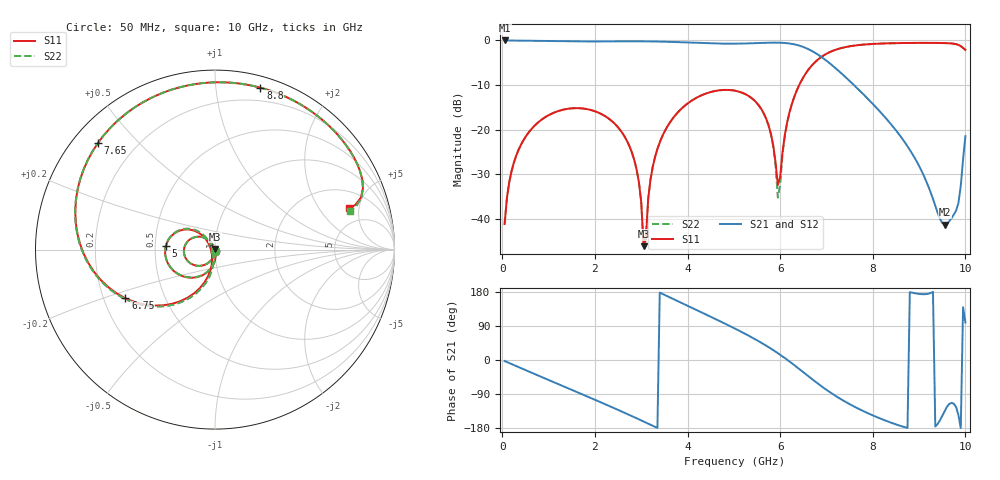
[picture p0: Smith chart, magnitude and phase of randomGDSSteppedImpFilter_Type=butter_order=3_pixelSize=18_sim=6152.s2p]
! freq	dB(S11)	phase(S11)	dB(S12)	phase(S12)
!  dB(S21)	phase(S21)	dB(S22)	phase(S22)
!S-par simulation data
#  GHz  S  DB  R 50
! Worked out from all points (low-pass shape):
!   200 points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, 50 MHz to 10 GHz, reference 50 ohm
!   highest |S21| = -0.01 dB at 50 MHz (marker M1); lowest = -41.4 dB at 9.55 GHz (marker M2)
!   |S21| within 3 dB of the highest: start of sweep to 6.79 GHz
!   lowest |S11| = -46.2 dB at 3.05 GHz (marker M3), VSWR 1.01, Z = 49.7 + j0.417 ohm
!   |S11| at or under -10 dB: start of sweep to 6.412 GHz
!   |S22| runs from -45.5 to -0.6 dB; largest |S21 - S12| = 0
!   S11 on the Smith chart (normalised r, x): 50 MHz: 1.00, -0.02; 5 GHz: 0.57, +0.03; 6.75 GHz: 0.29, -0.23; 7.65 GHz: 0.07, +0.38; 8.8 GHz: 0.09, +1.32; 10 GHz: 3.34, +3.97
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0.05  -41.22 -91.1  -0.01 -2.7  -0.01 -2.7  -41.22 -91.1
0.2  -29.34 -100.8  -0.02 -10.7  -0.02 -10.7  -29.34 -100.7
0.5  -21.68 -116.8  -0.06 -26.6  -0.06 -26.6  -21.68 -116.8
1.75  -15.29 177.5  -0.24 -91.7  -0.24 -91.7  -15.29 177.6
2.75  -23.85 124.2  -0.20 -145.4  -0.20 -145.4  -23.85 125.1
2.95  -31.85 113.6  -0.20 -156.6  -0.20 -156.6  -31.82 116.4
3.05  -46.19 121.3  -0.20 -162.2  -0.20 -162.2  -45.47 132.9
3.2  -31.23 -82.1  -0.22 -170.7  -0.22 -170.7  -31.23 -85.3
3.4  -22.89 -93.0  -0.26 177.8  -0.26 177.8  -22.89 -94.4
5  -11.24 175.4  -0.73 84.4  -0.73 84.4  -11.25 174.5
5.05  -11.34 172.4  -0.72 81.3  -0.72 81.3  -11.35 171.5
5.7  -17.62 134.2  -0.53 37.7  -0.53 37.7  -17.67 131.4
5.95  -32.47 171.0  -0.50 18.0  -0.50 18.0  -35.28 160.2
6.2  -16.20 -104.7  -0.69 -3.8  -0.69 -3.8  -16.26 -101.5
6.7  -5.45 -146.8  -2.45 -51.5  -2.45 -51.5  -5.46 -145.9
6.75  -4.92 -151.5  -2.75 -56.2  -2.75 -56.2  -4.92 -150.5
7.65  -1.09 137.8  -10.59 -126.1  -10.59 -126.1  -1.10 138.2
8.35  -0.64 97.2  -18.27 -163.4  -18.27 -163.4  -0.65 97.5
8.8  -0.56 74.3  -24.57 179.1  -24.57 179.1  -0.57 74.5
9.55  -0.59 38.5  -41.36 -134.9  -41.36 -134.9  -0.60 38.5
9.85  -0.99 22.5  -36.51 -145.5  -36.51 -145.5  -0.99 22.4
10  -2.12 17.1  -21.51 98.8  -21.51 98.8  -2.11 15.9
